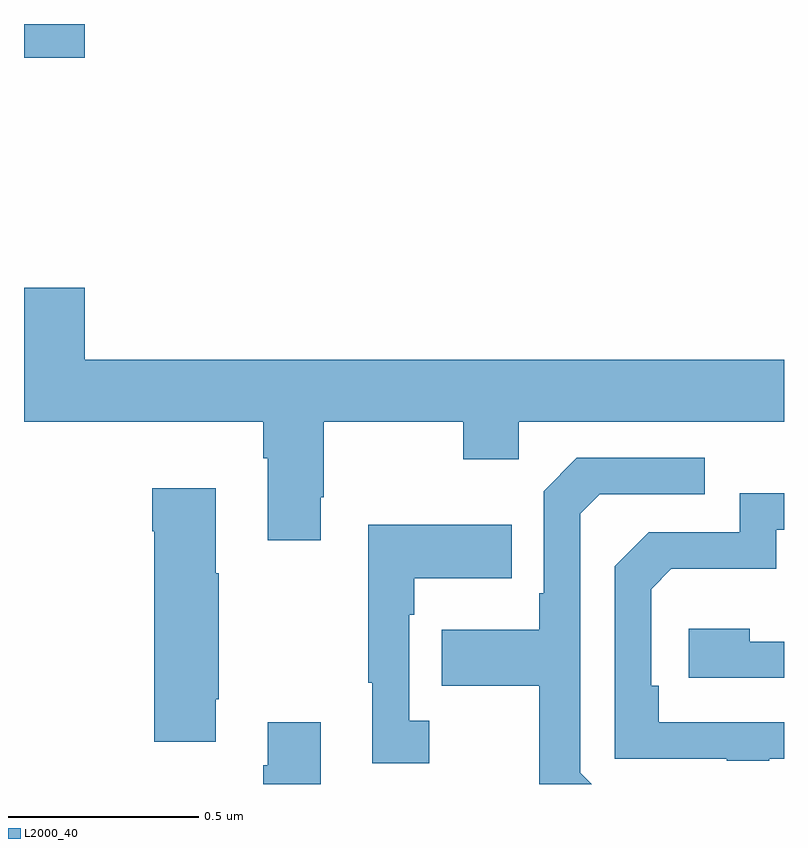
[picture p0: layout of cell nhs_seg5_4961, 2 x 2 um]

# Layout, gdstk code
import gdstk
lib = gdstk.Library(unit=1e-6, precision=1e-09)
def R(c, l, rs):  # rectangles x0, y0, x1, y1
    for r in rs: c.add(gdstk.rectangle(r[:2], r[2:], *l))
def P(c, l, *ps):  # polygons
    for p in ps: c.add(gdstk.Polygon(p, *l))
L2000_40 = (2000, 40)

nhs_seg5_4961 = lib.new_cell('nhs_seg5_4961')
R(nhs_seg5_4961, L2000_40, [(177,865.71,177.16,865.799)])
P(nhs_seg5_4961, L2000_40, [(177.781,864.553),(177.789,864.553),(177.789,864.752),(178.156,864.752),(178.156,864.653),(178.302,864.653),(178.302,864.752),(179,864.752),(179,864.916),(177.16,864.916),(177.16,865.105),(177,865.105),(177,864.752),(177.629,864.752),(177.629,864.656),(177.641,864.656),(177.641,864.441),(177.781,864.441)],
  [(178.464,863.829),(178.464,864.51),(178.515,864.561),(178.792,864.561),(178.792,864.657),(178.455,864.657),(178.368,864.57),(178.368,864.301),(178.356,864.301),(178.356,864.205),(178.099,864.205),(178.099,864.058),(178.356,864.058),(178.356,863.799),(178.494,863.799)],
  [(177.505,864.022),(177.513,864.022),(177.513,864.353),(177.505,864.353),(177.505,864.577),(177.338,864.577),(177.338,864.464),(177.343,864.464),(177.343,863.91),(177.505,863.91)],
  [(178.961,863.865),(179,863.865),(179,863.961),(178.67,863.961),(178.67,864.058),(178.65,864.058),(178.65,864.312),(178.703,864.365),(178.98,864.365),(178.98,864.468),(179,864.468),(179,864.564),(178.884,864.564),(178.884,864.462),(178.644,864.462),(178.554,864.372),(178.554,863.865),(178.849,863.865),(178.849,863.86),(178.961,863.86)],
  [(178.066,863.966),(178.014,863.966),(178.014,864.245),(178.027,864.245),(178.027,864.341),(178.283,864.341),(178.283,864.481),(177.906,864.481),(177.906,864.065),(177.917,864.065),(177.917,863.853),(178.066,863.853)],
  [(179,864.174),(178.91,864.174),(178.91,864.208),(178.749,864.208),(178.749,864.078),(179,864.078)],
  [(177.781,863.962),(177.641,863.962),(177.641,863.849),(177.629,863.849),(177.629,863.799),(177.781,863.799)])

lib.write_gds('nhs_seg5_4961.gds')
